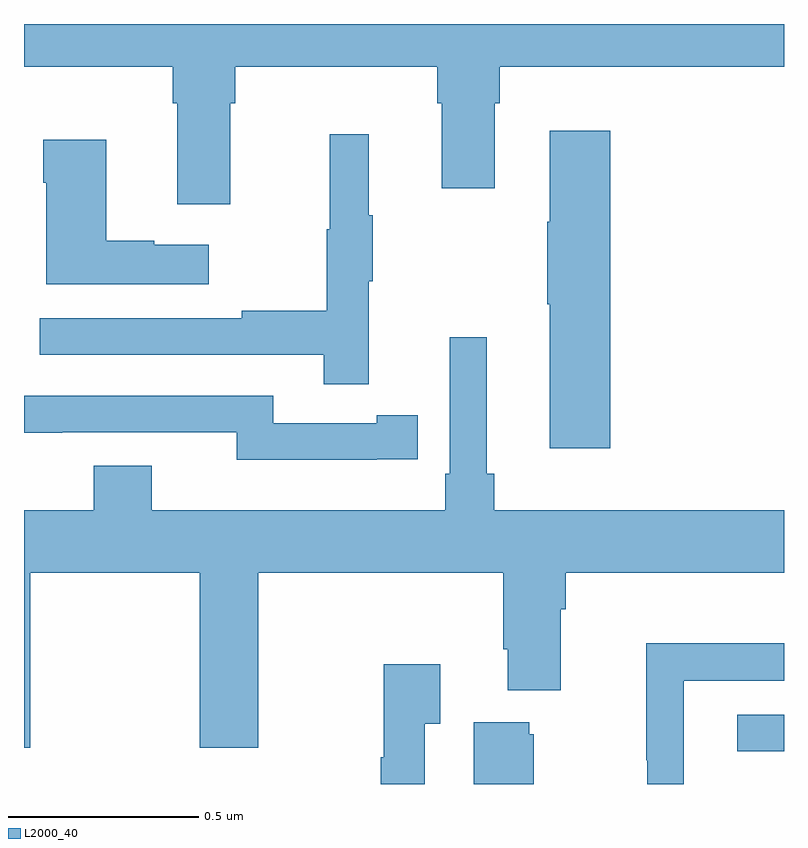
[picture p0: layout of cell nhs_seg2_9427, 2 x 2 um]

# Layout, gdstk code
import gdstk
lib = gdstk.Library(unit=1e-6, precision=1e-09)
def R(c, l, rs):  # rectangles x0, y0, x1, y1
    for r in rs: c.add(gdstk.rectangle(r[:2], r[2:], *l))
def P(c, l, *ps):  # polygons
    for p in ps: c.add(gdstk.Polygon(p, *l))
L2000_40 = (2000, 40)

nhs_seg2_9427 = lib.new_cell('nhs_seg2_9427')
R(nhs_seg2_9427, L2000_40, [(230.877,593.886,231,593.982)])
P(nhs_seg2_9427, L2000_40, [(229.543,595.592),(229.556,595.592),(229.556,595.688),(230.087,595.688),(230.087,595.592),(230.099,595.592),(230.099,595.368),(230.239,595.368),(230.239,595.592),(230.252,595.592),(230.252,595.688),(231,595.688),(231,595.8),(229,595.8),(229,595.688),(229.391,595.688),(229.391,595.592),(229.403,595.592),(229.403,595.326),(229.543,595.326)],
  [(230.543,595.519),(230.384,595.519),(230.384,595.28),(230.377,595.28),(230.377,595.063),(230.384,595.063),(230.384,594.684),(230.543,594.684)],
  [(229.907,595.123),(229.918,595.123),(229.918,595.297),(229.907,595.297),(229.907,595.51),(229.804,595.51),(229.804,595.26),(229.797,595.26),(229.797,595.046),(229.573,595.046),(229.573,595.026),(229.041,595.026),(229.041,594.93),(229.789,594.93),(229.789,594.852),(229.907,594.852)],
  [(229.486,595.219),(229.343,595.219),(229.343,595.229),(229.216,595.229),(229.216,595.495),(229.051,595.495),(229.051,595.382),(229.058,595.382),(229.058,595.115),(229.486,595.115)],
  [(229.017,594.356),(229.462,594.356),(229.462,593.895),(229.617,593.895),(229.617,594.356),(230.261,594.356),(230.261,594.154),(230.273,594.154),(230.273,594.047),(230.413,594.047),(230.413,594.26),(230.426,594.26),(230.426,594.356),(231,594.356),(231,594.52),(230.237,594.52),(230.237,594.616),(230.218,594.616),(230.218,594.976),(230.121,594.976),(230.121,594.616),(230.108,594.616),(230.108,594.52),(229.336,594.52),(229.336,594.637),(229.184,594.637),(229.184,594.52),(229,594.52),(229,593.895),(229.017,593.895)],
  [(229.928,594.654),(230.036,594.654),(230.036,594.77),(229.928,594.77),(229.928,594.75),(229.656,594.75),(229.656,594.822),(229,594.822),(229,594.725),(229.1,594.725),(229.1,594.726),(229.56,594.726),(229.56,594.653),(229.928,594.653)],
  [(230.736,594.072),(231,594.072),(231,594.17),(230.638,594.17),(230.638,593.863),(230.64,593.863),(230.64,593.8),(230.736,593.8)],
  [(230.055,593.959),(230.095,593.959),(230.095,594.115),(229.947,594.115),(229.947,593.87),(229.939,593.87),(229.939,593.8),(230.055,593.8)],
  [(230.341,593.931),(230.33,593.931),(230.33,593.962),(230.183,593.962),(230.183,593.8),(230.341,593.8)])

lib.write_gds('nhs_seg2_9427.gds')
